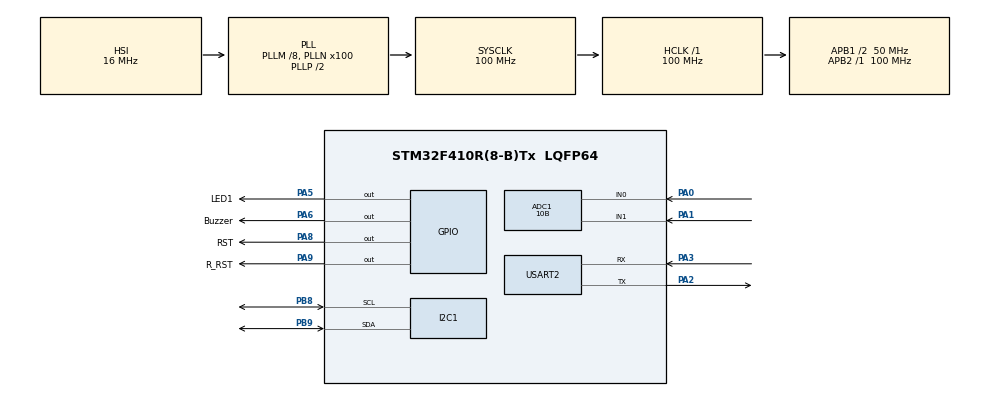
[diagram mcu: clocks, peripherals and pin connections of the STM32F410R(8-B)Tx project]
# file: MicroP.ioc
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ADC1.Channel-0\#ChannelRegularConversion=ADC_CHANNEL_0
ADC1.Channel-1\#ChannelRegularConversion=ADC_CHANNEL_0
ADC1.ContinuousConvMode=ENABLE
ADC1.NbrOfConversion=2
ADC1.NbrOfConversionFlag=1
ADC1.Rank-0\#ChannelRegularConversion=1
ADC1.Rank-1\#ChannelRegularConversion=2
ADC1.Resolution=ADC_RESOLUTION_10B
ADC1.SamplingTime-0\#ChannelRegularConversion=ADC_SAMPLETIME_3CYCLES
ADC1.SamplingTime-1\#ChannelRegularConversion=ADC_SAMPLETIME_3CYCLES
ADC1.ScanConvMode=ENABLE
ADC1.master=1
Mcu.Family=STM32F4
Mcu.Name=STM32F410R(8-B)Tx
Mcu.Package=LQFP64
NVIC.PriorityGroup=NVIC_PRIORITYGROUP_4
PA0-WKUP.Signal=ADCx_IN0
PA1.Signal=ADCx_IN1
PA2.Mode=Asynchronous
PA2.Signal=USART2_TX
PA3.Mode=Asynchronous
PA3.Signal=USART2_RX
PA5.GPIO_Label=LED1
PA5.Signal=GPIO_Output
PA6.GPIO_Label=Buzzer
PA6.Signal=GPIO_Output
PA8.GPIO_Label=RST
PA8.Signal=GPIO_Output
PA9.GPIO_Label=R_RST
PA9.Signal=GPIO_Output
PB8.GPIO_Pu=GPIO_PULLUP
PB8.Mode=I2C
PB8.Signal=I2C1_SCL
PB9.GPIO_Pu=GPIO_PULLUP
PB9.Mode=I2C
PB9.Signal=I2C1_SDA
PH0\ -\ OSC_IN.Mode=HSE-External-Oscillator
PH0\ -\ OSC_IN.Signal=RCC_OSC_IN
PH1\ -\ OSC_OUT.Mode=HSE-External-Oscillator
PH1\ -\ OSC_OUT.Signal=RCC_OSC_OUT
ProjectManager.HeapSize=0x200
ProjectManager.StackSize=0x400
ProjectManager.TargetToolchain=STM32CubeIDE
RCC.48MHZClocksFreq_Value=50000000
RCC.AHBFreq_Value=100000000
RCC.APB1CLKDivider=RCC_HCLK_DIV2
RCC.APB1Freq_Value=50000000
RCC.APB1TimFreq_Value=100000000
RCC.APB2Freq_Value=100000000
RCC.APB2TimFreq_Value=100000000
RCC.CortexFreq_Value=100000000
RCC.HCLKFreq_Value=100000000
RCC.HSE_VALUE=25000000
RCC.HSI_VALUE=16000000
RCC.LSE_VALUE=32768
RCC.PLLM=8
RCC.PLLN=100
RCC.SYSCLKFreq_VALUE=100000000
RCC.SYSCLKSource=RCC_SYSCLKSOURCE_PLLCLK
RCC.VCOOutputFreq_Value=200000000
SH.ADCx_IN0.0=ADC1_IN0,IN0
SH.ADCx_IN1.0=ADC1_IN1,IN1
USART2.VirtualMode=VM_ASYNC
board=custom

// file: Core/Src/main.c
/* USER CODE BEGIN Header */
/**
  ******************************************************************************
  * @file           : main.c
  * @brief          : Main program body
  ******************************************************************************
  * @attention
  *
  * Copyright (c) 2022 STMicroelectronics.
  * All rights reserved.
  *
  * This software is licensed under terms that can be found in the LICENSE file
  * in the root directory of this software component.
  * If no LICENSE file comes with this software, it is provided AS-IS.
  *
  ******************************************************************************
  */
/* USER CODE END Header */
#include "main.h"

ADC_HandleTypeDef hadc1;
I2C_HandleTypeDef hi2c1;
UART_HandleTypeDef huart2;

void SystemClock_Config(void);
static void MX_GPIO_Init(void);
static void MX_I2C1_Init(void);
static void MX_ADC1_Init(void);
static void MX_USART2_UART_Init(void);

/* USER CODE BEGIN 0 */
void ADC_Select_CH0 (void)

{
	ADC_ChannelConfTypeDef sConfig = {0};
	  sConfig.Channel = ADC_CHANNEL_0;
	  sConfig.Rank = 1;
	  sConfig.SamplingTime = ADC_SAMPLETIME_15CYCLES;
	  if (HAL_ADC_ConfigChannel(&hadc1, &sConfig) != HAL_OK)
	  {
	    Error_Handler();
	  }
}

void ADC_Select_CH1 (void)

{
	ADC_ChannelConfTypeDef sConfig = {0};
	  sConfig.Channel = ADC_CHANNEL_1;
	  sConfig.Rank = 1;
	  sConfig.SamplingTime = ADC_SAMPLETIME_15CYCLES;
	  if (HAL_ADC_ConfigChannel(&hadc1, &sConfig) != HAL_OK)
	  {
	    Error_Handler();
	  }
}
/* USER CODE END 0 */

int main(void)
{
  /* USER CODE BEGIN 1 */
	uint8_t temperature = 0;
	float noise = 0;
	uint8_t outputBittoLED = 0;
	uint8_t nntemp = 0;
	uint8_t nnnoise = 0;
	uint8_t adcval = 0;
  /* USER CODE END 1 */

  /* MCU Configuration--------------------------------------------------------*/

  /* Reset of all peripherals, Initializes the Flash interface and the Systick. */
  HAL_Init();

  /* Configure the system clock */
  SystemClock_Config();

  /* Initialize all configured peripherals */
  MX_GPIO_Init();
  MX_I2C1_Init();
  MX_ADC1_Init();
  MX_USART2_UART_Init();
  /* USER CODE BEGIN 2 */
  RA8876_Init();
  initNeuralNetwork(); // build and train neural network model
  HAL_Delay(10);
  drawSquareFill(0,0,SCREEN_WIDTH,SCREEN_HEIGHT,0x00FFFFFF); HAL_Delay(100);
  /* USER CODE END 2 */

  /* Infinite loop */
  while (1)
  {

    /* USER CODE BEGIN 3 */

	  ADC_Select_CH0();
	  HAL_ADC_Start(&hadc1);
	  if(HAL_ADC_PollForConversion(&hadc1, 5)==HAL_OK){

		  adcval = HAL_ADC_GetValue(&hadc1);
		  temperature = (adcval*330.0)/1023.0;
	  }
	  HAL_ADC_Stop(&hadc1);

	  ADC_Select_CH1();
	  HAL_ADC_Start(&hadc1);
	  if(HAL_ADC_PollForConversion(&hadc1, 5)==HAL_OK){

		  adcval = HAL_ADC_GetValue(&hadc1);
		  noise = 15 * log10 (adcval);
	  }
	  HAL_ADC_Stop(&hadc1);

		PrintOut(temperature,~adcval,0x00FFFFFF);

		if ((temperature <23)||(temperature >26)||(noise>60)){
			drawSquareFill(400,0,SCREEN_WIDTH,SCREEN_HEIGHT,0x00FFFFFF); HAL_Delay(200);
			if ((temperature <23)||(temperature >26)){
				nntemp = 1; //set to bad env
				dma_24bitAddressBlockMode(0,1,450,100,250,250,250,TEMPER); HAL_Delay(100);
			}
			if (noise>60){
				nnnoise = 1;  //set to bad env
				dma_24bitAddressBlockMode(0,1,450,100,250,250,250,NOIS); HAL_Delay(100);
			}
			else{}
		}
		else{
			// RESET
			nnnoise = 0;
			nntemp = 0;
			dma_24bitAddressBlockMode(0,1,450,50,300,300,300,SLEEP); HAL_Delay(500);
		}

		// Run neural network for environment classifications
		outputBittoLED = runNeuralNetwork(nntemp,nnnoise);
		if (outputBittoLED == 1){ //bad environment
			HAL_GPIO_WritePin(GPIOA, LED1_Pin, GPIO_PIN_SET);
		}else if (outputBittoLED == 0){ // good environment
			HAL_GPIO_WritePin(GPIOA, LED1_Pin, GPIO_PIN_RESET);
		}

	}
  /* USER CODE END 3 */
}

void SystemClock_Config(void)
{
  RCC_OscInitTypeDef RCC_OscInitStruct = {0};
  RCC_ClkInitTypeDef RCC_ClkInitStruct = {0};

  /** Configure the main internal regulator output voltage
  */
  __HAL_RCC_PWR_CLK_ENABLE();
  __HAL_PWR_VOLTAGESCALING_CONFIG(PWR_REGULATOR_VOLTAGE_SCALE1);
  /** Initializes the RCC Oscillators according to the specified parameters
  * in the RCC_OscInitTypeDef structure.
  */
  RCC_OscInitStruct.OscillatorType = RCC_OSCILLATORTYPE_HSI;
  RCC_OscInitStruct.HSIState = RCC_HSI_ON;
  RCC_OscInitStruct.HSICalibrationValue = RCC_HSICALIBRATION_DEFAULT;
  RCC_OscInitStruct.PLL.PLLState = RCC_PLL_ON;
  RCC_OscInitStruct.PLL.PLLSource = RCC_PLLSOURCE_HSI;
  RCC_OscInitStruct.PLL.PLLM = 8;
  RCC_OscInitStruct.PLL.PLLN = 100;
  RCC_OscInitStruct.PLL.PLLP = RCC_PLLP_DIV2;
  RCC_OscInitStruct.PLL.PLLQ = 4;
  RCC_OscInitStruct.PLL.PLLR = 2;
  if (HAL_RCC_OscConfig(&RCC_OscInitStruct) != HAL_OK)
  {
    Error_Handler();
  }
  /** Initializes the CPU, AHB and APB buses clocks
  */
  RCC_ClkInitStruct.ClockType = RCC_CLOCKTYPE_HCLK|RCC_CLOCKTYPE_SYSCLK
                              |RCC_CLOCKTYPE_PCLK1|RCC_CLOCKTYPE_PCLK2;
  RCC_ClkInitStruct.SYSCLKSource = RCC_SYSCLKSOURCE_PLLCLK;
  RCC_ClkInitStruct.AHBCLKDivider = RCC_SYSCLK_DIV1;
  RCC_ClkInitStruct.APB1CLKDivider = RCC_HCLK_DIV2;
  RCC_ClkInitStruct.APB2CLKDivider = RCC_HCLK_DIV1;

  if (HAL_RCC_ClockConfig(&RCC_ClkInitStruct, FLASH_LATENCY_3) != HAL_OK)
  {
    Error_Handler();
  }
}

static void MX_ADC1_Init(void)
{

  ADC_ChannelConfTypeDef sConfig = {0};

  /** Configure the global features of the ADC (Clock, Resolution, Data Alignment and number of conversion)
  */
  hadc1.Instance = ADC1;
  hadc1.Init.ClockPrescaler = ADC_CLOCK_SYNC_PCLK_DIV4;
  hadc1.Init.Resolution = ADC_RESOLUTION_10B;
  hadc1.Init.ScanConvMode = ENABLE;
  hadc1.Init.ContinuousConvMode = ENABLE;
  hadc1.Init.DiscontinuousConvMode = DISABLE;
  hadc1.Init.ExternalTrigConvEdge = ADC_EXTERNALTRIGCONVEDGE_NONE;
  hadc1.Init.ExternalTrigConv = ADC_SOFTWARE_START;
  hadc1.Init.DataAlign = ADC_DATAALIGN_RIGHT;
  hadc1.Init.NbrOfConversion = 2;
  hadc1.Init.DMAContinuousRequests = DISABLE;
  hadc1.Init.EOCSelection = ADC_EOC_SINGLE_CONV;
  if (HAL_ADC_Init(&hadc1) != HAL_OK)
  {
    Error_Handler();
  }
  /** Configure for the selected ADC regular channel its corresponding rank in the sequencer and its sample time.
  */
  sConfig.Channel = ADC_CHANNEL_0;
  sConfig.Rank = 1;
  sConfig.SamplingTime = ADC_SAMPLETIME_3CYCLES;
  if (HAL_ADC_ConfigChannel(&hadc1, &sConfig) != HAL_OK)
  {
    Error_Handler();
  }
  /** Configure for the selected ADC regular channel its corresponding rank in the sequencer and its sample time.
  */
  sConfig.Rank = 1;
  if (HAL_ADC_ConfigChannel(&hadc1, &sConfig) != HAL_OK)
  {
    Error_Handler();
  }

}

static void MX_I2C1_Init(void)
{

  hi2c1.Instance = I2C1;
  hi2c1.Init.ClockSpeed = 100000;
  hi2c1.Init.DutyCycle = I2C_DUTYCYCLE_2;
  hi2c1.Init.OwnAddress1 = 0;
  hi2c1.Init.AddressingMode = I2C_ADDRESSINGMODE_7BIT;
  hi2c1.Init.DualAddressMode = I2C_DUALADDRESS_DISABLE;
  hi2c1.Init.OwnAddress2 = 0;
  hi2c1.Init.GeneralCallMode = I2C_GENERALCALL_DISABLE;
  hi2c1.Init.NoStretchMode = I2C_NOSTRETCH_DISABLE;
  if (HAL_I2C_Init(&hi2c1) != HAL_OK)
  {
    Error_Handler();
  }

}

static void MX_USART2_UART_Init(void)
{

  huart2.Instance = USART2;
  huart2.Init.BaudRate = 115200;
  huart2.Init.WordLength = UART_WORDLENGTH_8B;
  huart2.Init.StopBits = UART_STOPBITS_1;
  huart2.Init.Parity = UART_PARITY_NONE;
  huart2.Init.Mode = UART_MODE_TX_RX;
  huart2.Init.HwFlowCtl = UART_HWCONTROL_NONE;
  huart2.Init.OverSampling = UART_OVERSAMPLING_16;
  if (HAL_UART_Init(&huart2) != HAL_OK)
  {
    Error_Handler();
  }

}

static void MX_GPIO_Init(void)
{
  GPIO_InitTypeDef GPIO_InitStruct = {0};

  /* GPIO Ports Clock Enable */
  __HAL_RCC_GPIOH_CLK_ENABLE();
  __HAL_RCC_GPIOA_CLK_ENABLE();
  __HAL_RCC_GPIOB_CLK_ENABLE();

  /*Configure GPIO pin Output Level */
  HAL_GPIO_WritePin(GPIOA, LED1_Pin|Buzzer_Pin|RST_Pin|R_RST_Pin, GPIO_PIN_RESET);

  /*Configure GPIO pins : LED1_Pin Buzzer_Pin RST_Pin R_RST_Pin */
  GPIO_InitStruct.Pin = LED1_Pin|Buzzer_Pin|RST_Pin|R_RST_Pin;
  GPIO_InitStruct.Mode = GPIO_MODE_OUTPUT_PP;
  GPIO_InitStruct.Pull = GPIO_NOPULL;
  GPIO_InitStruct.Speed = GPIO_SPEED_FREQ_LOW;
  HAL_GPIO_Init(GPIOA, &GPIO_InitStruct);

}

/* USER CODE BEGIN 4 */
int _write(int file, char *ptr, int len)
{
	HAL_UART_Transmit(&huart2,(uint8_t *)ptr,len,HAL_MAX_DELAY);
	return len;
}
/* USER CODE END 4 */

void Error_Handler(void)
{
  __disable_irq();
  while (1)
  {
  }
}
